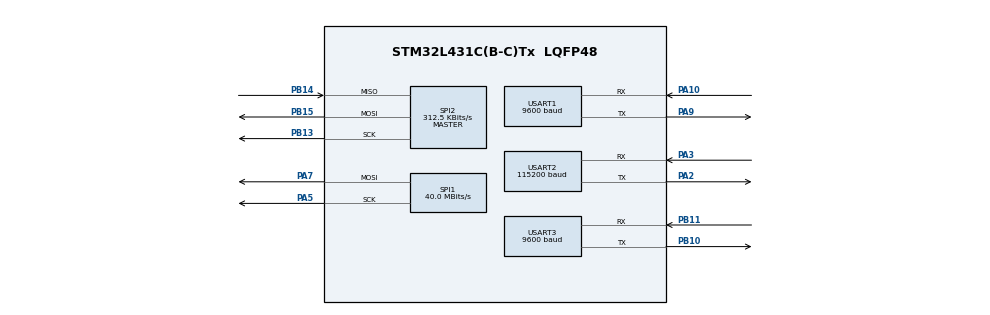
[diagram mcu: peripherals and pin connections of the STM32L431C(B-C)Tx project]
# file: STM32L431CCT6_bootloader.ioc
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Mcu.Family=STM32L4
Mcu.Name=STM32L431C(B-C)Tx
Mcu.Package=LQFP48
NVIC.PriorityGroup=NVIC_PRIORITYGROUP_4
NVIC.SPI2_IRQn=true\:0\:0\:false\:false\:true\:true\:true
NVIC.USART1_IRQn=true\:0\:0\:false\:false\:true\:true\:true
NVIC.USART2_IRQn=true\:0\:0\:false\:false\:true\:true\:true
NVIC.USART3_IRQn=true\:0\:0\:false\:false\:true\:true\:true
PA10.Mode=Asynchronous
PA10.Signal=USART1_RX
PA2.Mode=Asynchronous
PA2.Signal=USART2_TX
PA3.Mode=Asynchronous
PA3.Signal=USART2_RX
PA5.Mode=TX_Only_Simplex_Unidirect_Master
PA5.Signal=SPI1_SCK
PA7.Mode=TX_Only_Simplex_Unidirect_Master
PA7.Signal=SPI1_MOSI
PA9.Mode=Asynchronous
PA9.Signal=USART1_TX
PB10.Mode=Asynchronous
PB10.Signal=USART3_TX
PB11.Mode=Asynchronous
PB11.Signal=USART3_RX
PB13.Mode=Full_Duplex_Master
PB13.Signal=SPI2_SCK
PB14.Mode=Full_Duplex_Master
PB14.Signal=SPI2_MISO
PB15.Mode=Full_Duplex_Master
PB15.Signal=SPI2_MOSI
PH0-OSC_IN\ (PH0).Mode=HSE-External-Oscillator
PH0-OSC_IN\ (PH0).Signal=RCC_OSC_IN
PH1-OSC_OUT\ (PH1).Mode=HSE-External-Oscillator
PH1-OSC_OUT\ (PH1).Signal=RCC_OSC_OUT
ProjectManager.HeapSize=0x200
ProjectManager.StackSize=0x400
ProjectManager.TargetToolchain=MDK-ARM V5
RCC.ADCFreq_Value=16000000
RCC.AHBFreq_Value=80000000
RCC.APB1Freq_Value=80000000
RCC.APB1TimFreq_Value=80000000
RCC.APB2Freq_Value=80000000
RCC.APB2TimFreq_Value=80000000
RCC.CortexFreq_Value=80000000
RCC.HCLKFreq_Value=80000000
RCC.HSE_VALUE=25000000
RCC.HSI48_VALUE=48000000
RCC.HSI_VALUE=16000000
RCC.LSE_VALUE=32768
RCC.MSI_VALUE=4000000
RCC.PLLN=40
RCC.SYSCLKFreq_VALUE=80000000
RCC.SYSCLKSource=RCC_SYSCLKSOURCE_PLLCLK
RCC.USART1CLockSelection=RCC_USART1CLKSOURCE_HSI
RCC.USART2CLockSelection=RCC_USART2CLKSOURCE_HSI
RCC.VCOOutputFreq_Value=160000000
SPI1.BaudRatePrescaler=SPI_BAUDRATEPRESCALER_2
SPI1.CLKPhase=SPI_PHASE_2EDGE
SPI1.CLKPolarity=SPI_POLARITY_HIGH
SPI1.CalculateBaudRate=40.0 MBits/s
SPI1.DataSize=SPI_DATASIZE_8BIT
SPI1.Direction=SPI_DIRECTION_2LINES
SPI1.Mode=SPI_MODE_MASTER
SPI1.VirtualType=VM_MASTER
SPI2.BaudRatePrescaler=SPI_BAUDRATEPRESCALER_256
SPI2.CLKPhase=SPI_PHASE_2EDGE
SPI2.CLKPolarity=SPI_POLARITY_HIGH
SPI2.CalculateBaudRate=312.5 KBits/s
SPI2.DataSize=SPI_DATASIZE_8BIT
SPI2.Direction=SPI_DIRECTION_2LINES
SPI2.Mode=SPI_MODE_MASTER
SPI2.VirtualType=VM_MASTER
USART1.BaudRate=9600
USART1.VirtualMode-Asynchronous=VM_ASYNC
USART2.BaudRate=115200
USART2.VirtualMode-Asynchronous=VM_ASYNC
USART3.BaudRate=9600
USART3.VirtualMode-Asynchronous=VM_ASYNC
board=custom

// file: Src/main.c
/* USER CODE BEGIN Header */
/**
  ******************************************************************************
  * @file           : main.c
  * @brief          : Main program body
  ******************************************************************************
  * @attention
  *
  * <h2><center>&copy; Copyright (c) 2019 STMicroelectronics.
  * All rights reserved.</center></h2>
  *
  * This software component is licensed by ST under BSD 3-Clause license,
  * the "License"; You may not use this file except in compliance with the
  * License. You may obtain a copy of the License at:
  *                        opensource.org/licenses/BSD-3-Clause
  *
  ******************************************************************************
  */
/* USER CODE END Header */

#include "main.h"
#include "spi.h"
#include "usart.h"
#include "gpio.h"

/* USER CODE BEGIN Includes */
#include "app\lcd_driver.h"
#include "app\action.h"
#include "app\flash_if.h"
#include "app\mx25Lxxx.h"
/* USER CODE END Includes */

/* USER CODE BEGIN PTD */
uint8_t M_DataPkg0[16] = {0x00,0x01,0x02,0x03,0x04,0x05,0x06,0x07,
						0x08,0x09,0x0a,0x0b,0x0c,0x0d,0x0e,0x0f
					};
uint8_t M_DataPkg1[16] = {0x10,0x11,0x12,0x13,0x14,0x15,0x16,0x17,
						0x18,0x19,0x1a,0x1b,0x1c,0x1d,0x1e,0x1f
					};
uint8_t M_DataPkg2[16] = {0x20,0x21,0x22,0x23,0x24,0x25,0x26,0x27,
						0x28,0x29,0x2a,0x2b,0x2c,0x2d,0x2e,0x2f
					};
uint8_t M_DataPkg3[16] = {0x30,0x31,0x32,0x33,0x34,0x35,0x36,0x37,
						0x38,0x39,0x3a,0x3b,0x3c,0x3d,0x3e,0x3f
					};
uint8_t M_DataPkg4[16] = {0x40,0x41,0x42,0x43,0x44,0x45,0x46,0x47,
						0x48,0x49,0x4a,0x4b,0x4c,0x4d,0x4e,0x4f
					};

#define	LANGUAGE_CH	(1)	// 1: ����
#define	LANGUAGE_EN	(0)	// 0: english
const unsigned char* logoCh[]	={"��Ǳ�ɷ�"};
const unsigned char* logoEn[]	={"CHINA DIVE"};
/* USER CODE END PTD */

/* USER CODE BEGIN PD */
#define VECT_TABLE_OFFSET							0x0000000		// 256 - 32 KB
/* USER CODE END PD */

/* USER CODE BEGIN PV */
uint8_t _BootupParameter_ __attribute__((at(0x2000FF80)));
u32 Sec_Counter;
u16 Key_A_State;
u16 Key_B_State;
u16 Key_C_State;
/* USER CODE END PV */

void SystemClock_Config(void);

/* USER CODE BEGIN 0 */
void Power_Standby(void)
{
/*	if(LL_PWR_IsActiveFlag_SB(void))
	{
		LL_PWR_ClearFlag_SB(void);
	}*/
	if(__HAL_PWR_GET_FLAG(PWR_FLAG_SB) != RESET){
		__HAL_PWR_CLEAR_FLAG(PWR_FLAG_SB);
	}
	__HAL_RCC_PWR_CLK_ENABLE();
	HAL_PWR_EnableWakeUpPin(PWR_WAKEUP_PIN2);
	/* Clear all related wakeup flags*/
	__HAL_PWR_CLEAR_FLAG(PWR_FLAG_WU);
	HAL_PWR_EnterSTANDBYMode();
}
/* USER CODE END 0 */

int main(void)
{

  /* MCU Configuration--------------------------------------------------------*/

  /* Reset of all peripherals, Initializes the Flash interface and the Systick. */
  HAL_Init();

  /* Configure the system clock */
  SystemClock_Config();

  /* USER CODE BEGIN SysInit */
	SCB->VTOR = FLASH_BASE | VECT_TABLE_OFFSET;
  /* USER CODE END SysInit */

  /* Initialize all configured peripherals */
  MX_GPIO_Init();
  MX_SPI1_Init();
  MX_USART1_UART_Init();
  MX_USART2_UART_Init();
  MX_USART3_UART_Init();
  MX_SPI2_Init();
  /* USER CODE BEGIN 2 */
  User_SPI2_Init();
  User_USART_EnableINT();
  User_GPIO_Init_Selfdefine();
  LL_mDelay(100);		// 500
  LCD_Init();
  LCD_Clear(0x0000);
  SelfDefineValueInit();
  Sec_Counter = 0;
  Key_A_State = 0;
  Key_B_State = 0;
  Key_C_State = 0;
  //MX25Lxxx_Test();
  /* USER CODE END 2 */

  /* Infinite loop */
  /* USER CODE BEGIN WHILE */
	//BT_USART3_SendData("TTM:TST-",8);
  	//BT_USART3_SendData("TTM:ADV-ON",10);
	//BT_USART3_SendData("TTM:REN-ZHL",11);
	//BT_USART3_SendData("TTM:ADC-LIANG",13);
/*
	User_IAP_Handler(0,M_DataPkg0,16);
	User_IAP_Handler(1,M_DataPkg1,16);
	User_IAP_Handler(2,M_DataPkg2,16);
	User_IAP_Handler(3,M_DataPkg3,16);
	User_IAP_Handler(4,M_DataPkg4,14);
*/

	int i;
	for(i = 0; i < 3; i++)
	{
            /* disable interrupts. */
            NVIC->ICER[i] = 0xFFFFFFFF;
            /* clean up interrupts flags. */
            NVIC->ICPR[i] = 0xFFFFFFFF;
	}
 	__enable_irq();
	User_IAP_Loop();
	switch(_BootupParameter_)
	{
		default:
		case TO_BOOTLOADER_DEFAULT:
			_BootupParameter_ = TO_BOOTLOADER_DEFAULT;
			break;
		case TO_BOOTLOADER_STANDBY:
			_BootupParameter_ = TO_BOOTLOADER_DEFAULT;
			while(IS_KEY_A_RELEASE() == 0)
			{
				LL_mDelay(200);
			}
			User_GPIO_ReadyForStandby();
			Power_Standby();
			break;
	}
	LCD_Show_Image(70, 38, 40,25, gImage_logo);
	BACK_COLOR = BLACK;
	POINT_COLOR = WHITE;

	//printf("LANGUAGE TAG : %d \r\n",m_ConfigParams.m_Language);

	if(LANGUAGE_CH ==m_ConfigParams.m_Language)
	{
		Show_Str(57, 70, 80, 16, logoCh[0],16); //����
	}
	else if(LANGUAGE_EN==m_ConfigParams.m_Language)
	{
		Show_Str(48, 70, 80, 16, logoEn[0],16); //Ӣ��
	}
	else
	{
		Show_Str(48, 70, 80, 16, logoEn[0],16); //Ӣ��
	}
	printf("\r\n");
	printf("Bootloader v01\r\n");
	printf("BParm:%02x\r\n",_BootupParameter_);
	printf("*********************************\r\n");
	printf("Press A: Enter Standby\r\n");
	printf("Press B: From Section A read FW and update\r\n");
	printf("Press C: From Section B read FW and update\r\n");
	printf("*********************************\r\n");
  while (1)
  {
  	if(Get_TM_Flag() & TM_EVENT_100MS)
  	{
  		Clr_TM_Flag(TM_EVENT_100MS);
		//printf("timer event!\r\n");
		UpdateKeyStatus();
	}
  	if(Get_TM_Flag() & TM_EVENT_200MS)
  	{
  		Clr_TM_Flag(TM_EVENT_200MS);
		//printf("timer event!\r\n");
		//BT_Handler();
	}
  	if(Get_TM_Flag() & TM_EVENT_1SECOND)
  	{
  		Clr_TM_Flag(TM_EVENT_1SECOND);
		//printf("timer event!\r\n");
		if(GetKeyStatus(KEY_ENUM_A))				//		standby
		{
			printf("Key A Long Pressed\r\n");
			_BootupParameter_ = TO_BOOTLOADER_STANDBY;
		}
		if(GetKeyStatus(KEY_ENUM_B))				//		update FW from A source
		{
			printf("Key B Long Pressed\r\n");
			_BootupParameter_ = TO_BOOTLOADER_UPDATE_A;
		}
		if(GetKeyStatus(KEY_ENUM_C))				//		update FW from B source
		{
			printf("Key C Long Pressed\r\n");
			_BootupParameter_ = TO_BOOTLOADER_UPDATE_B;
		}

		if(Sec_Counter < BOOTLOADER_DELAY_SECS)
		{
			Sec_Counter+= 1;
			printf("%d,",Sec_Counter);
		}
		else
		{
			printf("para__%d___\r\n",_BootupParameter_);
			switch(_BootupParameter_)
			{
				default:
				case TO_BOOTLOADER_DEFAULT:
					LL_mDelay(500);
					Jump_Main_App2();
					break;
				case TO_BOOTLOADER_STANDBY:
					while(IS_KEY_A_RELEASE() == 0)
					{
						LL_mDelay(200);
					}
					User_GPIO_ReadyForStandby();
					Power_Standby();
					break;
			}
		}
	}
    /* USER CODE END WHILE */

  }
}

void SystemClock_Config(void)
{
  LL_FLASH_SetLatency(LL_FLASH_LATENCY_4);

  if(LL_FLASH_GetLatency() != LL_FLASH_LATENCY_4)
  {
  Error_Handler();
  }
  LL_PWR_SetRegulVoltageScaling(LL_PWR_REGU_VOLTAGE_SCALE1);
  LL_RCC_HSI_Enable();

   /* Wait till HSI is ready */
  while(LL_RCC_HSI_IsReady() != 1)
  {

  }
  LL_RCC_HSI_SetCalibTrimming(16);
  LL_RCC_MSI_Enable();

   /* Wait till MSI is ready */
  while(LL_RCC_MSI_IsReady() != 1)
  {

  }
  LL_RCC_MSI_EnableRangeSelection();
  LL_RCC_MSI_SetRange(LL_RCC_MSIRANGE_6);
  LL_RCC_MSI_SetCalibTrimming(0);
  LL_RCC_PLL_ConfigDomain_SYS(LL_RCC_PLLSOURCE_MSI, LL_RCC_PLLM_DIV_1, 40, LL_RCC_PLLR_DIV_2);
  LL_RCC_PLL_EnableDomain_SYS();
  LL_RCC_PLL_Enable();

   /* Wait till PLL is ready */
  while(LL_RCC_PLL_IsReady() != 1)
  {

  }
  LL_RCC_SetSysClkSource(LL_RCC_SYS_CLKSOURCE_PLL);

   /* Wait till System clock is ready */
  while(LL_RCC_GetSysClkSource() != LL_RCC_SYS_CLKSOURCE_STATUS_PLL)
  {

  }
  LL_RCC_SetAHBPrescaler(LL_RCC_SYSCLK_DIV_1);
  LL_RCC_SetAPB1Prescaler(LL_RCC_APB1_DIV_1);
  LL_RCC_SetAPB2Prescaler(LL_RCC_APB2_DIV_1);
  LL_Init1msTick(80000000);
  LL_SYSTICK_SetClkSource(LL_SYSTICK_CLKSOURCE_HCLK);
  LL_SetSystemCoreClock(80000000);
  LL_RCC_SetUSARTClockSource(LL_RCC_USART1_CLKSOURCE_HSI);
  LL_RCC_SetUSARTClockSource(LL_RCC_USART2_CLKSOURCE_HSI);
  LL_RCC_SetUSARTClockSource(LL_RCC_USART3_CLKSOURCE_PCLK1);
}

/* USER CODE BEGIN 4 */
void UpdateKeyStatus(void)
{
	Key_C_State <<= 1;
	if(IS_KEY_C_RELEASE() == 0)
	{
		Key_C_State |= 1;
	}
	Key_B_State <<= 1;
	if(IS_KEY_B_RELEASE() == 0)
	{
		Key_B_State |= 1;
	}
	Key_A_State <<= 1;
	if(IS_KEY_A_RELEASE() == 0)
	{
		Key_A_State |= 1;
	}
}
u8 GetKeyStatus(u8 index)
{
	u8 retStatus = 0;
	u16 tmpValue;
	switch(index)
	{
		case KEY_ENUM_A:		// key A
			tmpValue = Key_A_State;
			tmpValue++;
			if(tmpValue == 0x0)
			{
				retStatus = 1;
			}
			break;
		case KEY_ENUM_B:		// key B
			tmpValue = Key_B_State;
			tmpValue++;
			if(tmpValue == 0x0)
			{
				retStatus = 1;
			}
			break;
		case KEY_ENUM_C:		// key C
			tmpValue = Key_C_State;
			tmpValue++;
			if(tmpValue == 0x0)
			{
				retStatus = 1;
			}
			break;
		default:
			break;
	}
	return retStatus;
}
/* USER CODE END 4 */

void Error_Handler(void)
{
}

/************************ (C) COPYRIGHT STMicroelectronics *****END OF FILE****/
